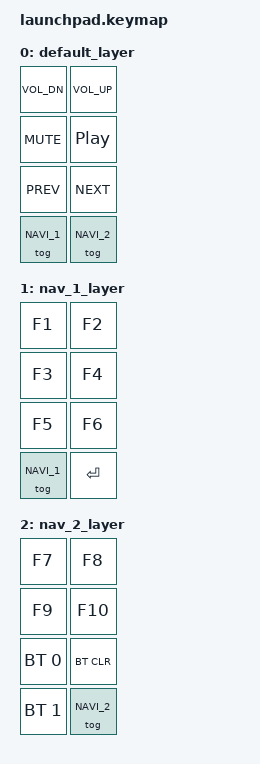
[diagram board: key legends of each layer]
#include <behaviors.dtsi>
#include <dt-bindings/zmk/keys.h>

#include <dt-bindings/zmk/bt.h>

#define default 0
#define NAVI_1 1
#define NAVI_2 2

/ {
    keymap {
        compatible = "zmk,keymap";

        default_layer {
            bindings = <
                &kp C_VOL_DN &kp C_VOL_UP
                &kp C_MUTE   &kp C_PP
                &kp C_PREV   &kp C_NEXT
                &tog NAVI_1  &tog NAVI_2
            >;
        };

        nav_1_layer {
            bindings = <
                &kp F1       &kp F2
                &kp F3       &kp F4
                &kp F5       &kp F6
                &tog NAVI_1  &kp ENTER
            >;
        };
        
        nav_2_layer {
            bindings = <
                &kp F7       &kp F8
                &kp F9       &kp F10
                &bt BT_SEL 0 &bt BT_CLR
                &bt BT_SEL 1 &tog NAVI_2
            >;
        };
    };
};
